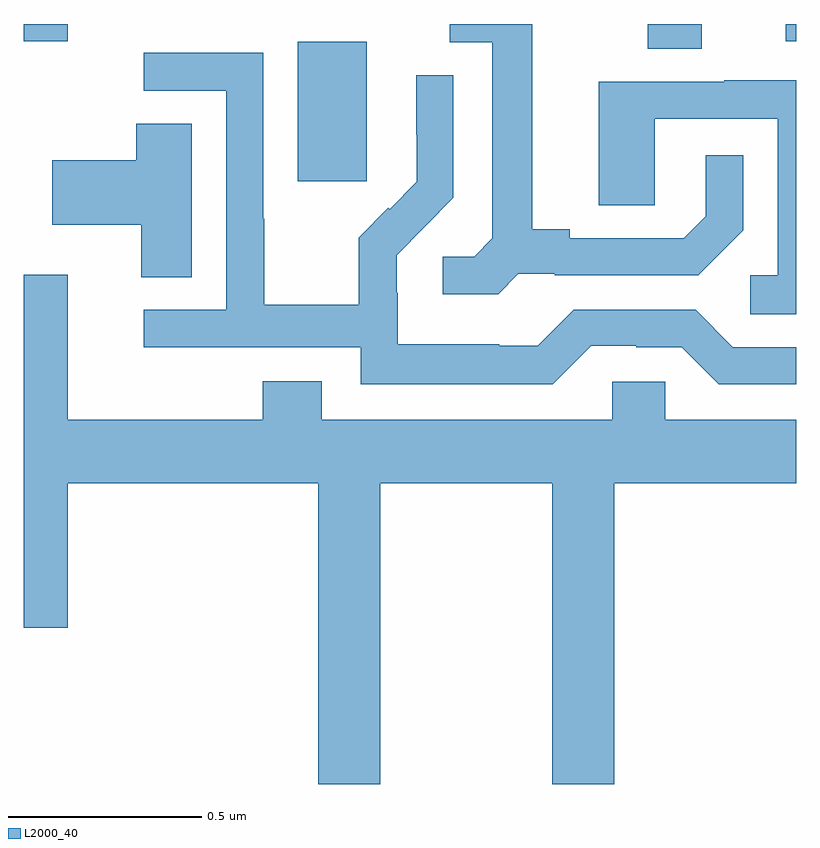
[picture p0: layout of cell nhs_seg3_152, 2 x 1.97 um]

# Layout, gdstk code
import gdstk
lib = gdstk.Library(unit=1e-6, precision=1e-09)
def R(c, l, rs):  # rectangles x0, y0, x1, y1
    for r in rs: c.add(gdstk.rectangle(r[:2], r[2:], *l))
def P(c, l, *ps):  # polygons
    for p in ps: c.add(gdstk.Polygon(p, *l))
L2000_40 = (2000, 40)

nhs_seg3_152 = lib.new_cell('nhs_seg3_152')
R(nhs_seg3_152, L2000_40, [(112.709,738.993,112.888,739.354), (113.615,739.336,113.755,739.4), (112,739.356,112.114,739.4), (113.973,739.356,114,739.4)])
P(nhs_seg3_152, L2000_40, [(113.28,738.753),(113.374,738.753),(113.374,738.75),(113.746,738.75),(113.862,738.866),(113.862,739.06),(113.765,739.06),(113.765,738.903),(113.708,738.846),(113.413,738.846),(113.413,738.869),(113.317,738.869),(113.317,739.4),(113.103,739.4),(113.103,739.353),(113.213,739.353),(113.213,738.845),(113.166,738.798),(113.085,738.798),(113.085,738.701),(113.228,738.701)],
  [(113.469,738.567),(113.585,738.567),(113.585,738.564),(113.703,738.564),(113.799,738.468),(114,738.468),(114,738.564),(113.835,738.564),(113.739,738.66),(113.424,738.66),(113.331,738.567),(113.231,738.567),(113.231,738.571),(112.968,738.571),(112.968,738.705),(112.966,738.705),(112.966,738.802),(113.04,738.876),(113.039,738.877),(113.112,738.95),(113.112,739.268),(113.016,739.268),(113.016,739.114),(113.018,739.114),(113.018,738.992),(112.947,738.921),(112.944,738.924),(112.867,738.847),(112.867,738.673),(112.623,738.673),(112.623,738.896),(112.62,738.896),(112.62,739.326),(112.311,739.326),(112.311,739.227),(112.524,739.227),(112.524,738.66),(112.311,738.66),(112.311,738.564),(112.872,738.564),(112.872,738.467),(113.369,738.467)],
  [(114,739.255),(113.813,739.255),(113.813,739.251),(113.489,739.251),(113.489,738.931),(113.634,738.931),(113.634,739.155),(113.952,739.155),(113.952,738.75),(113.88,738.75),(113.88,738.649),(114,738.649)],
  [(112.435,739.142),(112.292,739.142),(112.292,739.047),(112.074,739.047),(112.074,738.881),(112.304,738.881),(112.304,738.745),(112.435,738.745)],
  [(112.923,738.212),(113.368,738.212),(113.368,737.433),(113.528,737.433),(113.528,738.212),(114,738.212),(114,738.376),(113.661,738.376),(113.661,738.474),(113.523,738.474),(113.523,738.376),(112.771,738.376),(112.771,738.475),(112.619,738.475),(112.619,738.376),(112.114,738.376),(112.114,738.751),(112,738.751),(112,737.838),(112.114,737.838),(112.114,738.212),(112.763,738.212),(112.763,737.433),(112.923,737.433)])

lib.write_gds('nhs_seg3_152.gds')
